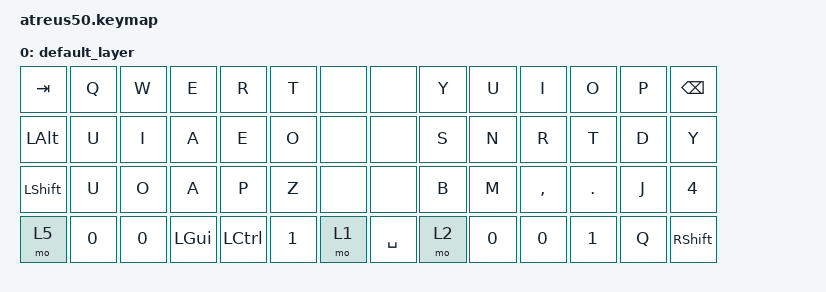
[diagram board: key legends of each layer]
/*
 * Copyright (c) 2020 The ZMK Contributors
 *
 * SPDX-License-Identifier: MIT
 */

#include <behaviors.dtsi>
#include <dt-bindings/zmk/keys.h>
#include <dt-bindings/zmk/bt.h>

#define DEFAULT 0

/ {
    behaviors {
        hm: homerow_mods {
            compatible = "zmk,behavior-hold-tap";
            label = "homerow mods";
            #binding-cells = <2>;
            tapping_term_ms = <225>;
            flavor = "tap-preferred";
            bindings = <&kp>, <&kp>;
        };
    };
};

/ {
    keymap {
        compatible = "zmk,keymap";

        default_layer {
            bindings = <
    &kp TAB   &kp Q     &kp W     &kp E     &kp R     &kp T     &none   &none     &kp Y     &kp U     &kp I     &kp O     &kp P   &kp BSPC
    &kp LALT  &kp U     &kp I     &kp A     &kp E     &kp O     &none   &none     &kp S     &kp N     &kp R     &kp T     &kp D   &kp Y
    &kp LSHFT &kp U     &kp O     &kp A     &kp P     &kp Z     &none   &none     &kp B     &kp M     &kp COMMA &kp DOT   &kp J   &kp NUM_4
    &mo L5    &kp NUM_0 &kp NUM_0 &kp LGUI  &kp LCTRL &kp NUM_1 &mo L1  &kp SPACE &mo L2    &kp NUM_0 &kp NUM_0 &kp NUM_1 &kp Q   &kp RSHFT
            >;
        };
    };
};
